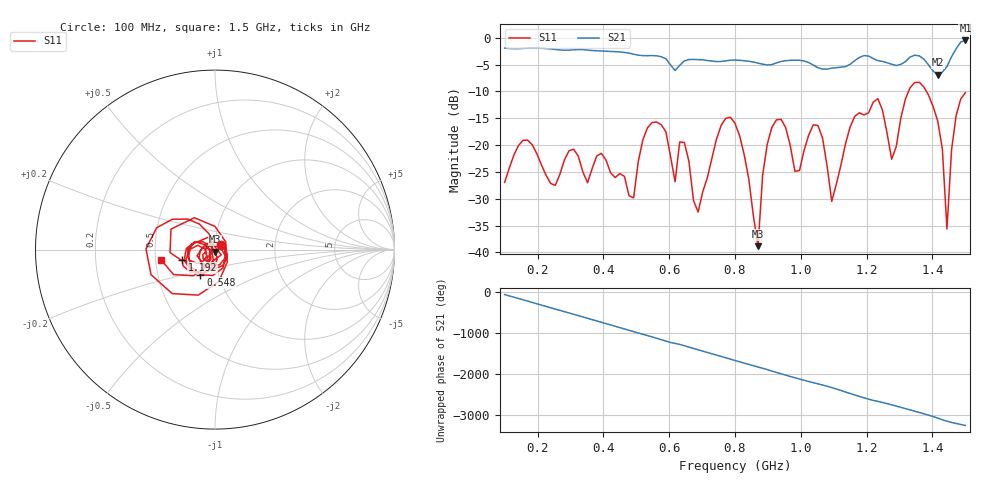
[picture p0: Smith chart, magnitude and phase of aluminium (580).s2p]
! NanoVNA-App
! Date: 2025-09-25 14:59:47
! Start: 100MHz Stop: 1,5GHz Points: 101
! S-Parameter data: F S11 S21 S12 S22
# Hz S RI R 50
!  Frequency  S11_Real  S11_Imag  S21_Real  S21_Imag  S12_Real  S12_Imag  S22_Real  S22_Imag
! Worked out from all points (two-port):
!   101 points, 100 MHz to 1.5 GHz, reference 50 ohm
!   highest |S21| = -0.50 dB at 1.5 GHz (marker M1); lowest = -6.9 dB at 1.416 GHz (marker M2)
!   |S21| within 3 dB of the highest: start of sweep to 573 MHz; 1.458 GHz to end of sweep (the widest 2 of 4)
!   lowest |S11| = -38.8 dB at 870 MHz (marker M3), VSWR 1.02, Z = 50.1 - j1.14 ohm
!   |S11| at or under -10 dB: start of sweep to 1.327 GHz; 1.382 GHz to end of sweep
!   S12 and S22 are empty: the file has one direction only
!   S11 on the Smith chart (normalised r, x): 100 MHz: 1.07, +0.06; 548 MHz: 0.82, -0.24; 1.192 GHz: 0.69, -0.08; 1.5 GHz: 0.53, -0.07
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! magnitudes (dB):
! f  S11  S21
! 100 MHz  -27.0  -1.9
! 156 MHz  -19.1  -2.0
! 338 MHz  -25.0  -2.2
! 492 MHz  -29.9  -3.1
! 548 MHz  -15.8  -3.3
! 576 MHz  -16.2  -3.5
! 646 MHz  -19.5  -4.3
! 688 MHz  -32.5  -4.1
! 800 MHz  -15.9  -4.1
! 870 MHz  -38.8  -4.7
! 912 MHz  -16.7  -5.0
! 982 MHz  -24.9  -4.2
! 1.038 GHz  -16.2  -5.1
! 1.094 GHz  -30.5  -5.7
! 1.192 GHz  -14.4  -3.3
! 1.234 GHz  -11.4  -4.3
! 1.276 GHz  -22.6  -4.9
! 1.346 GHz  -8.3  -3.2
! 1.416 GHz  -15.5  -6.9
! 1.444 GHz  -35.6  -5.4
! 1.472 GHz  -14.5  -2.0
! 1.5 GHz  -10.3  -0.5
